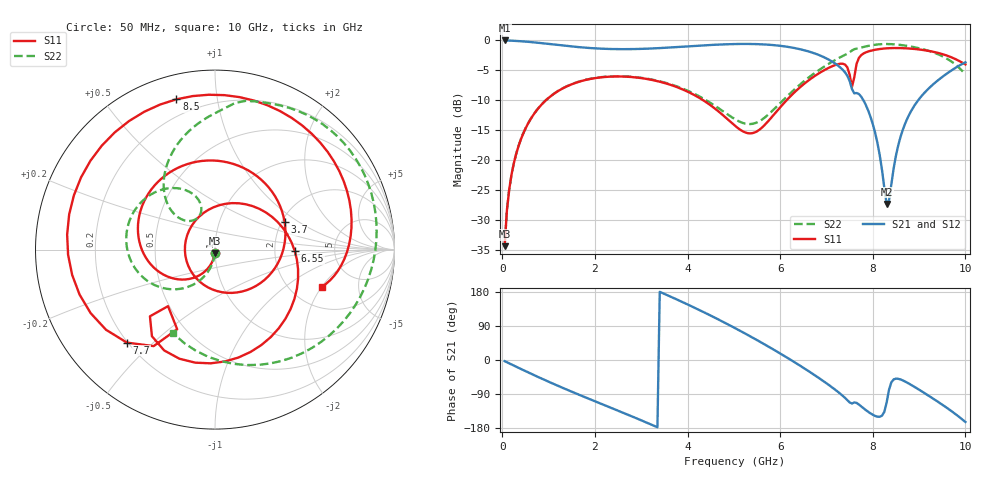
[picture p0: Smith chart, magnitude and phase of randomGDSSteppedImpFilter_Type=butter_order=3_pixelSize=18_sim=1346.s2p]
! freq	dB(S11)	phase(S11)	dB(S12)	phase(S12)
!  dB(S21)	phase(S21)	dB(S22)	phase(S22)
!S-par simulation data
#  GHz  S  DB  R 50
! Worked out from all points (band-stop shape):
!   200 points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, 50 MHz to 10 GHz, reference 50 ohm
!   highest |S21| = 0.00 dB at 50 MHz (marker M1); lowest = -27.3 dB at 8.3 GHz (marker M2)
!   |S21| within 3 dB of the highest: start of sweep to 7.001 GHz
!   lowest |S11| = -34.3 dB at 50 MHz (marker M3), VSWR 1.04, Z = 49.9 - j1.91 ohm
!   |S11| at or under -10 dB: start of sweep to 939.7 MHz; 4.342 GHz to 6.137 GHz (1.795 GHz wide, 34.3 % of centre)
!   |S22| runs from -34.3 to -0.6 dB; largest |S21 - S12| = 0
!   S11 on the Smith chart (normalised r, x): 50 MHz: 1.00, -0.04; 3.7 GHz: 2.07, +0.78; 6.55 GHz: 2.60, -0.05; 7.7 GHz: 0.20, -0.42; 8.5 GHz: 0.12, +0.77; 10 GHz: 2.92, -2.01
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0.05  -34.32 -93.4  -0.00 -3.0  -0.00 -3.0  -34.33 -92.4
0.2  -22.36 -104.0  -0.04 -11.9  -0.04 -11.9  -22.35 -100.3
0.5  -14.72 -124.4  -0.19 -29.3  -0.19 -29.3  -14.70 -115.2
1.75  -6.69 155.5  -1.18 -96.4  -1.18 -96.4  -6.66 -169.4
2.65  -6.03 98.2  -1.46 -141.3  -1.46 -141.3  -5.99 158.4
3.4  -6.89 45.3  -1.28 179.9  -1.28 179.9  -6.81 134.5
3.7  -7.59 21.8  -1.14 163.6  -1.14 163.6  -7.48 125.9
4.45  -10.56 -46.4  -0.78 120.2  -0.78 120.2  -10.20 109.5
5.05  -14.39 -123.3  -0.60 82.6  -0.60 82.6  -13.26 111.6
5.9  -12.06 84.0  -0.81 24.5  -0.81 24.5  -11.23 138.8
6.55  -7.04 -1.0  -1.70 -24.3  -1.70 -24.3  -6.59 127.6
6.7  -6.18 -19.5  -2.05 -36.3  -2.05 -36.3  -5.70 122.3
7.2  -4.07 -84.9  -3.92 -79.4  -3.92 -79.4  -3.22 100.3
7.55  -7.75 -129.7  -8.08 -114.9  -8.08 -114.9  -1.68 82.3
7.7  -2.93 -133.5  -8.93 -117.5  -8.93 -117.5  -1.27 71.7
7.95  -1.73 -178.0  -12.73 -140.8  -12.73 -140.8  -0.84 56.0
8.3  -1.32 130.5  -27.28 -112.0  -27.28 -112.0  -0.60 32.9
8.35  -1.29 123.8  -26.76 -79.0  -26.76 -79.0  -0.60 29.6
8.5  -1.26 104.4  -19.23 -49.2  -19.23 -49.2  -0.67 19.6
9.2  -1.73 32.3  -8.07 -93.8  -8.07 -93.8  -1.72 -29.0
9.65  -2.67 -1.0  -5.26 -130.5  -5.26 -130.5  -3.27 -69.4
10  -4.00 -19.1  -3.65 -163.5  -3.65 -163.5  -5.66 -116.6
